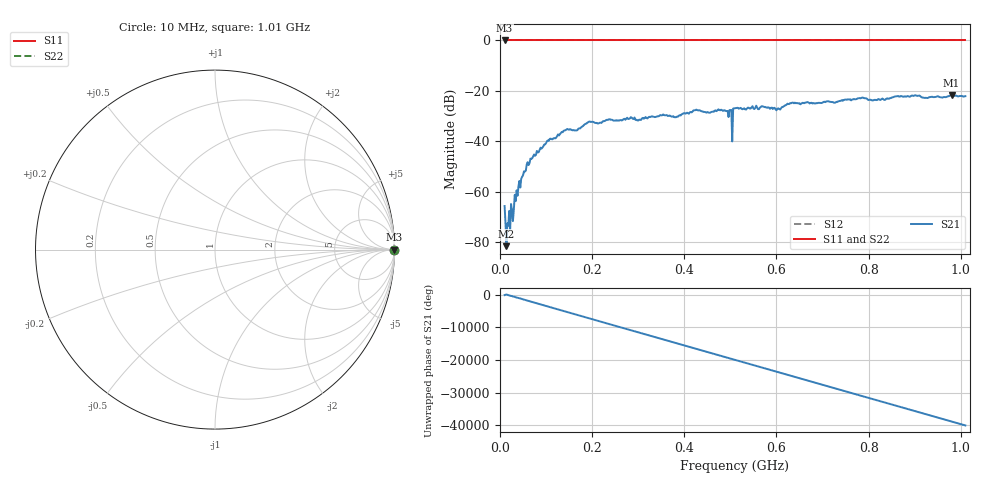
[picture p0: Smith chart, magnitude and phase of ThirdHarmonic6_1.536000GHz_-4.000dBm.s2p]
! 8/16/2025 6:11:45 PM
! C:\ANRITSUVNA\TEMP\TEMP.S2P
! CHANNEL.1
! TR.MEASUREMENT
! RAW.DATA
! RF.CORRECTION.OFF
! AVERAGING.OFF
! IF.BANDWIDTH: 5KHZ
! SWEEPTYPE:  FREQ.SWEEP(Linear)
! Reference Plane Port Info
! PORT:  PORT1  PORT2
! DISTANCE:  0  m  0  m
! TIME:  0  s  0  s
! PHASE.OFFSET:  0  deg.  0  deg.
! LOSS:  0  dB  0  dB
! REF.LOSS:  0  dB  0  dB
! REF.FREQ:  0  Hz  0  Hz
! Power Info
! POWER:  -20  dBm  -20  dBm
! EFF.POWER:  -20  dBm  -20  dBm
! SOURCE.ATTEN:  0  dB  0  dB
! TEST.ATTEN:  0  dB  0  dB
# GHZ S RI R 50.0
! FREQ.GHZ  S11RE  S11IM  S21RE  S21IM  S12RE  S12IM  S22RE  S22IM
!; PortSelection: Port_12
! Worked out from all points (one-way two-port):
!   501 points, 10 MHz to 1.01 GHz, reference 50 ohm
!   highest |S21| = -21.70 dB at 980 MHz (marker M1); lowest = -81.7 dB at 14 MHz (marker M2)
!   lowest |S11| = 0.0 dB at 10 MHz (marker M3)
!   |S11| at or under -10 dB: nowhere
!   |S22| runs from 0.0 to 0.0 dB; largest |S21 - S12| = 1.1
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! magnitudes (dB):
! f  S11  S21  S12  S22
! 10 MHz  0.0  -65.8  0.0  0.0
! 14 MHz  0.0  -81.7  0.0  0.0
! 18 MHz  0.0  -73.6  0.0  0.0
! 20 MHz  0.0  -67.7  0.0  0.0
! 26 MHz  0.0  -67.3  0.0  0.0
! 44 MHz  0.0  -58.4  0.0  0.0
! 70 MHz  0.0  -46.7  0.0  0.0
! 106 MHz  0.0  -39.8  0.0  0.0
! 178 MHz  0.0  -34.2  0.0  0.0
! 196 MHz  0.0  -32.3  0.0  0.0
! 344 MHz  0.0  -30.1  0.0  0.0
! 478 MHz  0.0  -27.7  0.0  0.0
! 498 MHz  0.0  -27.7  0.0  0.0
! 500 MHz  0.0  -27.7  0.0  0.0
! 508 MHz  0.0  -27.0  0.0  0.0
! 510 MHz  0.0  -26.9  0.0  0.0
! 604 MHz  0.0  -27.0  0.0  0.0
! 632 MHz  0.0  -24.9  0.0  0.0
! 678 MHz  0.0  -25.0  0.0  0.0
! 844 MHz  0.0  -23.1  0.0  0.0
! 980 MHz  0.0  -21.7  0.0  0.0
! 1.01 GHz  0.0  -22.1  0.0  0.0
